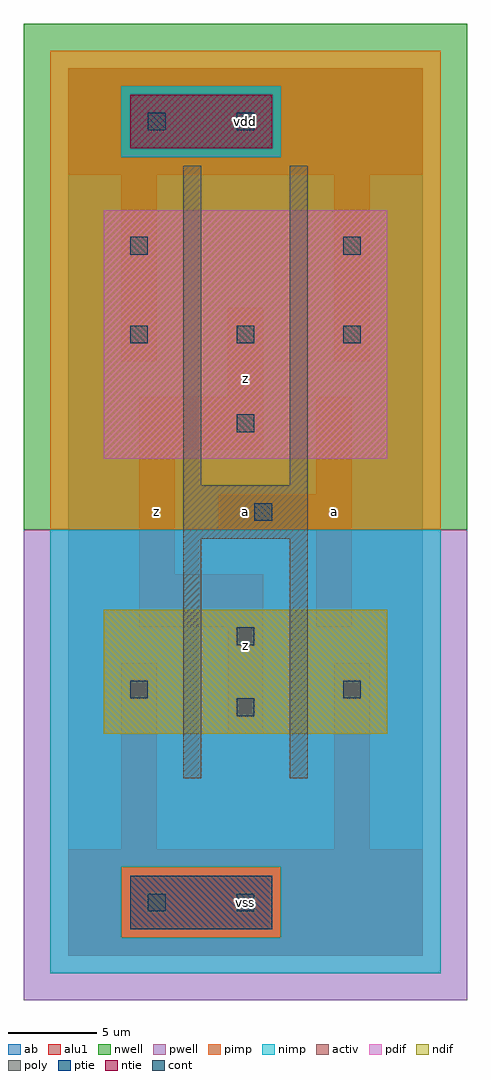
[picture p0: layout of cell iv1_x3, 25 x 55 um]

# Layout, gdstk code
import gdstk
lib = gdstk.Library(unit=1e-6, precision=1e-09)
def R(c, l, rs):  # rectangles x0, y0, x1, y1
    for r in rs: c.add(gdstk.rectangle(r[:2], r[2:], *l))
def A(c, l, x, y, w, h, nx, ny, dx, dy):  # array of equal rectangles
    R(c, l, [(x+i*dx, y+j*dy, x+i*dx+w, y+j*dy+h) for i in range(nx) for j in range(ny)])
ndif = (3, 0)
pdif = (4, 0)
ntie = (5, 0)
ptie = (6, 0)
cont = (25, 0)
pwell = (41, 0)
nwell = (42, 0)
activ = (43, 0)
pimp = (44, 0)
nimp = (45, 0)
poly = (46, 0)
alu1 = (49, 0)
ab = (63, 0)

iv1_x3 = lib.new_cell('iv1_x3')
R(iv1_x3, ndif, [(2,12.5,18,19.5)])
R(iv1_x3, pdif, [(2,28,18,42)])
R(iv1_x3, ntie, [(3.5,45.5,11.5,48.5)])
R(iv1_x3, ptie, [(3.5,1.5,11.5,4.5)])
A(iv1_x3, cont, 3.5, 34.5, 1, 1, 3, 1, 6, 0)
R(iv1_x3, cont, [(4.5,2.5,5.5,3.5), (9.5,2.5,10.5,3.5), (9.5,13.5,10.5,14.5), (3.5,14.5,4.5,15.5), (15.5,14.5,16.5,15.5), (9.5,17.5,10.5,18.5), (10.5,24.5,11.5,25.5), (9.5,29.5,10.5,30.5), (3.5,39.5,4.5,40.5), (15.5,39.5,16.5,40.5), (4.5,46.5,5.5,47.5), (9.5,46.5,10.5,47.5)])
R(iv1_x3, pwell, [(-2.5,-2.5,22.5,24)])
R(iv1_x3, nwell, [(-2.5,24,22.5,52.5)])
R(iv1_x3, activ, [(3.5,1.5,11.5,4.5), (2,12.5,18,19.5), (2,28,18,42), (3.5,45.5,11.5,48.5)])
R(iv1_x3, pimp, [(3,1,12,5), (-1,24,21,45), (-1,45,3,49), (12,45,21,49), (-1,49,21,51)])
R(iv1_x3, nimp, [(-1,-1,21,1), (-1,1,3,5), (12,1,21,5), (-1,5,21,24), (3,45,12,49)])
R(iv1_x3, poly, [(6.5,10,7.5,23.5), (12.5,10,13.5,23.5), (6.5,23.5,13.5,26.5), (6.5,26.5,7.5,44.5), (12.5,26.5,13.5,44.5)])
R(iv1_x3, alu1, [(0,0,20,6), (0,0,20,6), (3,6,5,16.5), (3,6,5,16.5), (15,6,17,16.5), (15,6,17,16.5), (9,12.5,11,18.5), (9,12.5,11,18.5), (4,18.5,11,21.5), (4,18.5,11,21.5), (14,18.5,16,24), (14,18.5,16,24), (4,21.5,6,28.5), (4,21.5,6,28.5), (8.5,24,16,26), (8.5,24,16,26), (14,26,16,31.5), (14,26,16,31.5), (4,28.5,11,31.5), (4,28.5,11,31.5), (9,31.5,11,36.5), (9,31.5,11,36.5), (3,33.5,5,44), (3,33.5,5,44), (15,33.5,17,44), (15,33.5,17,44), (0,44,20,50), (0,44,20,50)])
R(iv1_x3, ab, [(0,0,20,50)])
iv1_x3.add(gdstk.Label('z', (5,25), layer=49, texttype=0))
iv1_x3.add(gdstk.Label('vss', (10,3), layer=49, texttype=0))
iv1_x3.add(gdstk.Label('z', (10,17.5), layer=49, texttype=0))
iv1_x3.add(gdstk.Label('a', (10,25), layer=49, texttype=0))
iv1_x3.add(gdstk.Label('z', (10,32.5), layer=49, texttype=0))
iv1_x3.add(gdstk.Label('vdd', (10,47), layer=49, texttype=0))
iv1_x3.add(gdstk.Label('a', (15,25), layer=49, texttype=0))

lib.write_gds('iv1_x3.gds')
